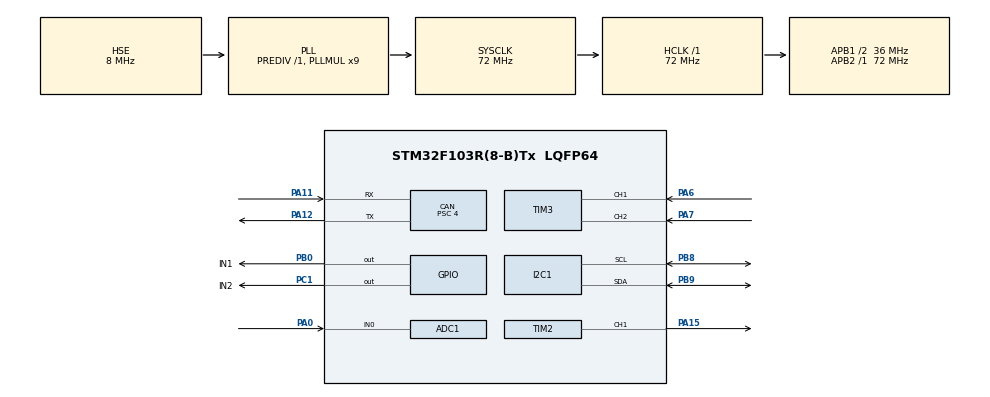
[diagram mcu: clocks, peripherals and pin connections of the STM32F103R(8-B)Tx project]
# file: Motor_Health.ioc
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ADC1.Channel-0\#ChannelRegularConversion=ADC_CHANNEL_0
ADC1.ContinuousConvMode=ENABLE
ADC1.NbrOfConversionFlag=1
ADC1.Rank-0\#ChannelRegularConversion=1
ADC1.SamplingTime-0\#ChannelRegularConversion=ADC_SAMPLETIME_1CYCLE_5
ADC1.master=1
CAN.BS1=CAN_BS1_13TQ
CAN.BS2=CAN_BS2_4TQ
CAN.CalculateBaudRate=500000
CAN.CalculateTimeBit=2000
CAN.CalculateTimeQuantum=111.11111111111111
CAN.Prescaler=4
FREERTOS.Tasks01=sensorTask,2,128,SensorTask,Default,NULL,Dynamic,NULL,NULL;faultTask,1,128,FaultTask,Default,NULL,Dynamic,NULL,NULL;canTask,0,128,CANTask,Default,NULL,Dynamic,NULL,NULL;motorTask,1,128,MotorTask,Default,NULL,Dynamic,NULL,NULL
Mcu.Family=STM32F1
Mcu.Name=STM32F103R(8-B)Tx
Mcu.Package=LQFP64
NVIC.PriorityGroup=NVIC_PRIORITYGROUP_4
PA0-WKUP.Signal=ADCx_IN0
PA11.Mode=CAN_Activate
PA11.Signal=CAN_RX
PA12.Mode=CAN_Activate
PA12.Signal=CAN_TX
PA13.Mode=Serial_Wire
PA13.Signal=SYS_JTMS-SWDIO
PA14.Mode=Serial_Wire
PA14.Signal=SYS_JTCK-SWCLK
PA15.Signal=S_TIM2_CH1_ETR
PA6.Signal=S_TIM3_CH1
PA7.Signal=S_TIM3_CH2
PB0.GPIO_Label=IN1
PB0.Signal=GPIO_Output
PB8.Mode=I2C
PB8.Signal=I2C1_SCL
PB9.Mode=I2C
PB9.Signal=I2C1_SDA
PC1.GPIO_Label=IN2
PC1.Signal=GPIO_Output
PD0-OSC_IN.Mode=HSE-External-Oscillator
PD0-OSC_IN.Signal=RCC_OSC_IN
PD1-OSC_OUT.Mode=HSE-External-Oscillator
PD1-OSC_OUT.Signal=RCC_OSC_OUT
ProjectManager.HeapSize=0x200
ProjectManager.StackSize=0x400
ProjectManager.TargetToolchain=STM32CubeIDE
RCC.ADCPresc=RCC_ADCPCLK2_DIV6
RCC.AHBFreq_Value=72000000
RCC.APB1CLKDivider=RCC_HCLK_DIV2
RCC.APB1Freq_Value=36000000
RCC.APB1TimFreq_Value=72000000
RCC.APB2Freq_Value=72000000
RCC.APB2TimFreq_Value=72000000
RCC.HCLKFreq_Value=72000000
RCC.PLLMUL=RCC_PLL_MUL9
RCC.PLLSourceVirtual=RCC_PLLSOURCE_HSE
RCC.SYSCLKFreq_VALUE=72000000
RCC.SYSCLKSource=RCC_SYSCLKSOURCE_PLLCLK
RCC.USBFreq_Value=72000000
SH.ADCx_IN0.0=ADC1_IN0,IN0
SH.S_TIM2_CH1_ETR.0=TIM2_CH1,PWM Generation1 CH1
SH.S_TIM3_CH1.0=TIM3_CH1,Encoder_Interface
SH.S_TIM3_CH2.0=TIM3_CH2,Encoder_Interface
TIM2.Channel-PWM\ Generation1\ CH1=TIM_CHANNEL_1
TIM3.EncoderMode=TIM_ENCODERMODE_TI12
VP_FREERTOS_VS_CMSIS_V1.Mode=CMSIS_V1
board=custom

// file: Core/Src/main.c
/* USER CODE BEGIN Header */
/**
  ******************************************************************************
  * @file           : main.c
  * @brief          : Main program body
  ******************************************************************************
  * @attention
  *
  * Copyright (c) 2026 STMicroelectronics.
  * All rights reserved.
  *
  * This software is licensed under terms that can be found in the LICENSE file
  * in the root directory of this software component.
  * If no LICENSE file comes with this software, it is provided AS-IS.
  *
  ******************************************************************************
  */
/* USER CODE END Header */
#include "main.h"
#include "cmsis_os.h"

/* USER CODE BEGIN Includes */
#include "ina219.h"
#include "ntc.h"
#include "math.h"
/* USER CODE END Includes */

/* USER CODE BEGIN PD */

#define FAULT_OVERLOAD  (1U << 0)
#define FAULT_STALL     (1U << 1)
#define FAULT_LOW_VOLT  (1U << 2)
#define FAULT_HIGH_TEMP (1U << 3)
#define FAULT_SENSOR    (1U << 4)

/* USER CODE END PD */

ADC_HandleTypeDef hadc1;

CAN_HandleTypeDef hcan;

I2C_HandleTypeDef hi2c1;

TIM_HandleTypeDef htim2;
TIM_HandleTypeDef htim3;

osThreadId sensorTaskHandle;
osThreadId faultTaskHandle;
osThreadId canTaskHandle;
osThreadId motorTaskHandle;
/* USER CODE BEGIN PV */

/* CAN status: 0 = normal, 1 = possible overload */
volatile uint8_t faultFlags = 0;

volatile uint8_t motorDutyPercent = 50;
extern I2C_HandleTypeDef hi2c1;
extern ADC_HandleTypeDef hadc1;
HAL_StatusTypeDef status;

	float Voltage;
	float current;
	float Power;

	float temperature;
	float rpm;

	int8_t direction;

		uint8_t data[2];
	  uint16_t config;
/////////////////////////****MAIN****///////////////////////////////////////////////
	  typedef struct {
	      float rpm;
	      float current;
	      float voltage;
	      float temperature;
	  } SensorData_t;

	  QueueHandle_t sensorQueue;
	  QueueHandle_t faultQueue;

	  typedef enum
	  {
	      MOTOR_OFF = 0,
	      MOTOR_STARTING,
	      MOTOR_RUNNING
	  } MotorState_t;

	  volatile MotorState_t motorState = MOTOR_OFF;

/* USER CODE END PV */

void SystemClock_Config(void);
static void MX_GPIO_Init(void);
static void MX_I2C1_Init(void);
static void MX_ADC1_Init(void);
static void MX_TIM3_Init(void);
static void MX_TIM2_Init(void);
static void MX_CAN_Init(void);
void SensorTask(void const * argument);
void FaultTask(void const * argument);
void CANTask(void const * argument);
void MotorTask(void const * argument);

int main(void)
{

  /* MCU Configuration--------------------------------------------------------*/

  /* Reset of all peripherals, Initializes the Flash interface and the Systick. */
  HAL_Init();

  /* Configure the system clock */
  SystemClock_Config();

  /* Initialize all configured peripherals */
  MX_GPIO_Init();
  MX_I2C1_Init();
  MX_ADC1_Init();
  MX_TIM3_Init();
  MX_TIM2_Init();
  MX_CAN_Init();
  /* USER CODE BEGIN 2 */

  status = HAL_I2C_Mem_Read(&hi2c1,
                            (0x40 << 1),
                            0x00,
                            I2C_MEMADD_SIZE_8BIT,
                            data,
                            2,
                            100);

  if (status == HAL_OK)
  {
      config = ((uint16_t)data[0] << 8) | data[1];
  }

  /* USER CODE END 2 */

  /* USER CODE BEGIN RTOS_QUEUES */
  sensorQueue = xQueueCreate(1, sizeof(SensorData_t));
  faultQueue  = xQueueCreate(1, sizeof(SensorData_t));

  if (sensorQueue == NULL || faultQueue == NULL)
  {
      Error_Handler();
  }
  /* add queues, ... */
  /* USER CODE END RTOS_QUEUES */

  /* Create the thread(s) */
  /* definition and creation of sensorTask */
  osThreadDef(sensorTask, SensorTask, osPriorityHigh, 0, 128);
  sensorTaskHandle = osThreadCreate(osThread(sensorTask), NULL);

  /* definition and creation of faultTask */
  osThreadDef(faultTask, FaultTask, osPriorityAboveNormal, 0, 128);
  faultTaskHandle = osThreadCreate(osThread(faultTask), NULL);

  /* definition and creation of canTask */
  osThreadDef(canTask, CANTask, osPriorityNormal, 0, 128);
  canTaskHandle = osThreadCreate(osThread(canTask), NULL);

  /* definition and creation of motorTask */
  osThreadDef(motorTask, MotorTask, osPriorityAboveNormal, 0, 128);
  motorTaskHandle = osThreadCreate(osThread(motorTask), NULL);

  /* Start scheduler */
  osKernelStart();

  /* We should never get here as control is now taken by the scheduler */

  /* Infinite loop */
  while (1)
  {

  }
}

void SystemClock_Config(void)
{
  RCC_OscInitTypeDef RCC_OscInitStruct = {0};
  RCC_ClkInitTypeDef RCC_ClkInitStruct = {0};
  RCC_PeriphCLKInitTypeDef PeriphClkInit = {0};

  /** Initializes the RCC Oscillators according to the specified parameters
  * in the RCC_OscInitTypeDef structure.
  */
  RCC_OscInitStruct.OscillatorType = RCC_OSCILLATORTYPE_HSE;
  RCC_OscInitStruct.HSEState = RCC_HSE_ON;
  RCC_OscInitStruct.HSEPredivValue = RCC_HSE_PREDIV_DIV1;
  RCC_OscInitStruct.HSIState = RCC_HSI_ON;
  RCC_OscInitStruct.PLL.PLLState = RCC_PLL_ON;
  RCC_OscInitStruct.PLL.PLLSource = RCC_PLLSOURCE_HSE;
  RCC_OscInitStruct.PLL.PLLMUL = RCC_PLL_MUL9;
  if (HAL_RCC_OscConfig(&RCC_OscInitStruct) != HAL_OK)
  {
    Error_Handler();
  }

  /** Initializes the CPU, AHB and APB buses clocks
  */
  RCC_ClkInitStruct.ClockType = RCC_CLOCKTYPE_HCLK|RCC_CLOCKTYPE_SYSCLK
                              |RCC_CLOCKTYPE_PCLK1|RCC_CLOCKTYPE_PCLK2;
  RCC_ClkInitStruct.SYSCLKSource = RCC_SYSCLKSOURCE_PLLCLK;
  RCC_ClkInitStruct.AHBCLKDivider = RCC_SYSCLK_DIV1;
  RCC_ClkInitStruct.APB1CLKDivider = RCC_HCLK_DIV2;
  RCC_ClkInitStruct.APB2CLKDivider = RCC_HCLK_DIV1;

  if (HAL_RCC_ClockConfig(&RCC_ClkInitStruct, FLASH_LATENCY_2) != HAL_OK)
  {
    Error_Handler();
  }
  PeriphClkInit.PeriphClockSelection = RCC_PERIPHCLK_ADC;
  PeriphClkInit.AdcClockSelection = RCC_ADCPCLK2_DIV6;
  if (HAL_RCCEx_PeriphCLKConfig(&PeriphClkInit) != HAL_OK)
  {
    Error_Handler();
  }
}

static void MX_ADC1_Init(void)
{

  ADC_ChannelConfTypeDef sConfig = {0};

  /** Common config
  */
  hadc1.Instance = ADC1;
  hadc1.Init.ScanConvMode = ADC_SCAN_DISABLE;
  hadc1.Init.ContinuousConvMode = ENABLE;
  hadc1.Init.DiscontinuousConvMode = DISABLE;
  hadc1.Init.ExternalTrigConv = ADC_SOFTWARE_START;
  hadc1.Init.DataAlign = ADC_DATAALIGN_RIGHT;
  hadc1.Init.NbrOfConversion = 1;
  if (HAL_ADC_Init(&hadc1) != HAL_OK)
  {
    Error_Handler();
  }

  /** Configure Regular Channel
  */
  sConfig.Channel = ADC_CHANNEL_0;
  sConfig.Rank = ADC_REGULAR_RANK_1;
  sConfig.SamplingTime = ADC_SAMPLETIME_1CYCLE_5;
  if (HAL_ADC_ConfigChannel(&hadc1, &sConfig) != HAL_OK)
  {
    Error_Handler();
  }

}

static void MX_CAN_Init(void)
{

  hcan.Instance = CAN1;
  hcan.Init.Prescaler = 4;
  hcan.Init.Mode = CAN_MODE_NORMAL;
  hcan.Init.SyncJumpWidth = CAN_SJW_1TQ;
  hcan.Init.TimeSeg1 = CAN_BS1_13TQ;
  hcan.Init.TimeSeg2 = CAN_BS2_4TQ;
  hcan.Init.TimeTriggeredMode = DISABLE;
  hcan.Init.AutoBusOff = DISABLE;
  hcan.Init.AutoWakeUp = DISABLE;
  hcan.Init.AutoRetransmission = DISABLE;
  hcan.Init.ReceiveFifoLocked = DISABLE;
  hcan.Init.TransmitFifoPriority = DISABLE;
  if (HAL_CAN_Init(&hcan) != HAL_OK)
  {
    Error_Handler();
  }

}

static void MX_I2C1_Init(void)
{

  hi2c1.Instance = I2C1;
  hi2c1.Init.ClockSpeed = 100000;
  hi2c1.Init.DutyCycle = I2C_DUTYCYCLE_2;
  hi2c1.Init.OwnAddress1 = 0;
  hi2c1.Init.AddressingMode = I2C_ADDRESSINGMODE_7BIT;
  hi2c1.Init.DualAddressMode = I2C_DUALADDRESS_DISABLE;
  hi2c1.Init.OwnAddress2 = 0;
  hi2c1.Init.GeneralCallMode = I2C_GENERALCALL_DISABLE;
  hi2c1.Init.NoStretchMode = I2C_NOSTRETCH_DISABLE;
  if (HAL_I2C_Init(&hi2c1) != HAL_OK)
  {
    Error_Handler();
  }

}

static void MX_TIM2_Init(void)
{

  TIM_MasterConfigTypeDef sMasterConfig = {0};
  TIM_OC_InitTypeDef sConfigOC = {0};

  htim2.Instance = TIM2;
  htim2.Init.Prescaler = 0;
  htim2.Init.CounterMode = TIM_COUNTERMODE_UP;
  htim2.Init.Period = 65534;
  htim2.Init.ClockDivision = TIM_CLOCKDIVISION_DIV1;
  htim2.Init.AutoReloadPreload = TIM_AUTORELOAD_PRELOAD_DISABLE;
  if (HAL_TIM_PWM_Init(&htim2) != HAL_OK)
  {
    Error_Handler();
  }
  sMasterConfig.MasterOutputTrigger = TIM_TRGO_RESET;
  sMasterConfig.MasterSlaveMode = TIM_MASTERSLAVEMODE_DISABLE;
  if (HAL_TIMEx_MasterConfigSynchronization(&htim2, &sMasterConfig) != HAL_OK)
  {
    Error_Handler();
  }
  sConfigOC.OCMode = TIM_OCMODE_PWM1;
  sConfigOC.Pulse = 0;
  sConfigOC.OCPolarity = TIM_OCPOLARITY_HIGH;
  sConfigOC.OCFastMode = TIM_OCFAST_DISABLE;
  if (HAL_TIM_PWM_ConfigChannel(&htim2, &sConfigOC, TIM_CHANNEL_1) != HAL_OK)
  {
    Error_Handler();
  }
  HAL_TIM_MspPostInit(&htim2);

}

static void MX_TIM3_Init(void)
{

  TIM_Encoder_InitTypeDef sConfig = {0};
  TIM_MasterConfigTypeDef sMasterConfig = {0};

  htim3.Instance = TIM3;
  htim3.Init.Prescaler = 0;
  htim3.Init.CounterMode = TIM_COUNTERMODE_UP;
  htim3.Init.Period = 65535;
  htim3.Init.ClockDivision = TIM_CLOCKDIVISION_DIV1;
  htim3.Init.AutoReloadPreload = TIM_AUTORELOAD_PRELOAD_DISABLE;
  sConfig.EncoderMode = TIM_ENCODERMODE_TI12;
  sConfig.IC1Polarity = TIM_ICPOLARITY_RISING;
  sConfig.IC1Selection = TIM_ICSELECTION_DIRECTTI;
  sConfig.IC1Prescaler = TIM_ICPSC_DIV1;
  sConfig.IC1Filter = 0;
  sConfig.IC2Polarity = TIM_ICPOLARITY_RISING;
  sConfig.IC2Selection = TIM_ICSELECTION_DIRECTTI;
  sConfig.IC2Prescaler = TIM_ICPSC_DIV1;
  sConfig.IC2Filter = 0;
  if (HAL_TIM_Encoder_Init(&htim3, &sConfig) != HAL_OK)
  {
    Error_Handler();
  }
  sMasterConfig.MasterOutputTrigger = TIM_TRGO_RESET;
  sMasterConfig.MasterSlaveMode = TIM_MASTERSLAVEMODE_DISABLE;
  if (HAL_TIMEx_MasterConfigSynchronization(&htim3, &sMasterConfig) != HAL_OK)
  {
    Error_Handler();
  }

}

static void MX_GPIO_Init(void)
{
  GPIO_InitTypeDef GPIO_InitStruct = {0};

  /* GPIO Ports Clock Enable */
  __HAL_RCC_GPIOD_CLK_ENABLE();
  __HAL_RCC_GPIOC_CLK_ENABLE();
  __HAL_RCC_GPIOA_CLK_ENABLE();
  __HAL_RCC_GPIOB_CLK_ENABLE();

  /*Configure GPIO pin Output Level */
  HAL_GPIO_WritePin(IN2_GPIO_Port, IN2_Pin, GPIO_PIN_RESET);

  /*Configure GPIO pin Output Level */
  HAL_GPIO_WritePin(IN1_GPIO_Port, IN1_Pin, GPIO_PIN_RESET);

  /*Configure GPIO pin : IN2_Pin */
  GPIO_InitStruct.Pin = IN2_Pin;
  GPIO_InitStruct.Mode = GPIO_MODE_OUTPUT_PP;
  GPIO_InitStruct.Pull = GPIO_NOPULL;
  GPIO_InitStruct.Speed = GPIO_SPEED_FREQ_LOW;
  HAL_GPIO_Init(IN2_GPIO_Port, &GPIO_InitStruct);

  /*Configure GPIO pin : IN1_Pin */
  GPIO_InitStruct.Pin = IN1_Pin;
  GPIO_InitStruct.Mode = GPIO_MODE_OUTPUT_PP;
  GPIO_InitStruct.Pull = GPIO_NOPULL;
  GPIO_InitStruct.Speed = GPIO_SPEED_FREQ_LOW;
  HAL_GPIO_Init(IN1_GPIO_Port, &GPIO_InitStruct);

}

void SensorTask(void const * argument)
{
  /* USER CODE BEGIN 5 */
	HAL_TIM_Encoder_Start(&htim3, TIM_CHANNEL_ALL);
	int16_t lastCount = (int16_t)__HAL_TIM_GET_COUNTER(&htim3);
	TickType_t lastSampleTick = xTaskGetTickCount();
	uint8_t verifyCnt = 0;

	INA219_Init(&hi2c1);   // one-time setup

  for(;;)
  {
	  osDelay(100);

	  int16_t currentCount = (int16_t)__HAL_TIM_GET_COUNTER(&htim3);
	  TickType_t now = xTaskGetTickCount();
	  TickType_t elapsedTicks = now - lastSampleTick;
	  int16_t delta = (int16_t)(currentCount - lastCount);

	  lastCount = currentCount;
	  lastSampleTick = now;

	  if (elapsedTicks > 0)
	  {
	      float elapsedSeconds = (float)elapsedTicks / (float)configTICK_RATE_HZ;
	      rpm = ((float)delta * 60.0f) / (3120.0f * elapsedSeconds);
	  }

	  if (delta > 0)      direction = 1;
	  else if (delta < 0) direction = -1;
	  else                direction = 0;

	  if (++verifyCnt >= 10) { verifyCnt = 0; INA219_Verify(&hi2c1); }

	  Voltage = INA219_ReadVoltage(&hi2c1);
	  current = INA219_ReadCurrent(&hi2c1);
	  Power   = INA219_ReadPower(&hi2c1);

	  temperature = NTC_ReadTemperature(&hadc1);

	  SensorData_t sensorData = { rpm, current, Voltage, temperature };
	  xQueueOverwrite(sensorQueue, &sensorData);
	  xQueueOverwrite(faultQueue, &sensorData);

  }
  /* USER CODE END 5 */
}

void FaultTask(void const *argument)
{
    SensorData_t sample;

    uint8_t previousDuty = 0;
    TickType_t settlingStarted = 0;
    TickType_t overloadStarted = 0;
    TickType_t recoveryStarted = 0;
    TickType_t stallStarted = 0;
    TickType_t lowVoltStarted = 0;
    TickType_t highTempStarted = 0;
    TickType_t validStarted = 0;

    float filteredCurrent = 0.0f;

    for (;;)
    {
    	if (xQueueReceive(faultQueue, &sample,
    	                  pdMS_TO_TICKS(1000)) != pdTRUE)
    	{
    	    /* SensorTask stopped producing samples. */
    	    faultFlags = FAULT_SENSOR;
    	    validStarted = 0;
    	    overloadStarted = 0;
    	    recoveryStarted = 0;
    	    stallStarted = 0;
    	    lowVoltStarted = 0;
    	    highTempStarted = 0;
    	    filteredCurrent = 0.0f;
    	    continue;
    	}

        uint8_t duty = motorDutyPercent;
        TickType_t now = xTaskGetTickCount();
        uint8_t flags = faultFlags;

        uint8_t invalid =
            !isfinite(sample.rpm) ||
            !isfinite(sample.current) ||
            !isfinite(sample.voltage) ||
            !isfinite(sample.temperature) ||
            sample.voltage < 0.0f ||
            sample.voltage > 9.0f ||
            sample.current < -0.5f ||
            sample.temperature < -20.0f ||
            sample.temperature > 120.0f;

        if (invalid)
        {
            /* One invalid sample immediately makes readings untrusted. */
            faultFlags = FAULT_SENSOR;
            validStarted = 0;
            overloadStarted = 0;
            recoveryStarted = 0;
            stallStarted = 0;
            lowVoltStarted = 0;
            highTempStarted = 0;
            filteredCurrent = 0.0f;
            continue;
        }

        if (flags & FAULT_SENSOR)
        {
            /* Require 1 second of uninterrupted valid readings. */
            if (validStarted == 0)
            {
                validStarted = now;
                continue;
            }

            if ((TickType_t)(now - validStarted) <
                pdMS_TO_TICKS(1000))
            {
                continue;
            }

            faultFlags = 0;
            flags = 0;
            validStarted = 0;

            /* Restart startup settling after sensor recovery. */
            settlingStarted = now;
            motorState = (duty == 0) ? MOTOR_OFF : MOTOR_STARTING;
            previousDuty = duty;
            filteredCurrent = sample.current;

            overloadStarted = 0;
            recoveryStarted = 0;
            stallStarted = 0;
            lowVoltStarted = 0;
            highTempStarted = 0;
            continue;
        }

        validStarted = 0;

        if (duty == 0)
        {
            motorState = MOTOR_OFF;
            faultFlags = 0;
            overloadStarted = 0;
            recoveryStarted = 0;
            stallStarted = 0;
            lowVoltStarted = 0;
            highTempStarted = 0;
            filteredCurrent = 0.0f;
            previousDuty = duty;
            continue;
        }

        if (duty != previousDuty)
        {
            settlingStarted = now;
            motorState = MOTOR_STARTING;
            flags = 0;
            overloadStarted = 0;
            recoveryStarted = 0;
            stallStarted = 0;
            filteredCurrent = sample.current;
        }
        else
        {
            filteredCurrent =
                0.7f * filteredCurrent + 0.3f * sample.current;
        }

        if ((TickType_t)(now - settlingStarted) >=
            pdMS_TO_TICKS(2000))
        {
            motorState = MOTOR_RUNNING;
        }

        /* Provisional 2-cell low-supply-voltage warning. */
        if (sample.voltage < 6.4f)
        {
            if (lowVoltStarted == 0)
                lowVoltStarted = now;
            else if ((TickType_t)(now - lowVoltStarted) >=
                     pdMS_TO_TICKS(2000))
                flags |= FAULT_LOW_VOLT;
        }
        else
        {
            lowVoltStarted = 0;

            if (sample.voltage > 6.6f)
                flags &= (uint8_t)~FAULT_LOW_VOLT;
        }

        /* Provisional casing-temperature warning. */
        if (sample.temperature > 60.0f)
        {
            if (highTempStarted == 0)
                highTempStarted = now;
            else if ((TickType_t)(now - highTempStarted) >=
                     pdMS_TO_TICKS(2000))
                flags |= FAULT_HIGH_TEMP;
        }
        else
        {
            highTempStarted = 0;

            if (sample.temperature < 55.0f)
                flags &= (uint8_t)~FAULT_HIGH_TEMP;
        }

        if (motorState != MOTOR_RUNNING)
        {
            flags &= (uint8_t)~(FAULT_OVERLOAD | FAULT_STALL);
            overloadStarted = 0;
            recoveryStarted = 0;
            stallStarted = 0;
        }
        else
        {
            /* Measured near-stall rule at 50% duty. */
            if (duty == 50 &&
                sample.rpm < 20.0f &&
                filteredCurrent > 0.45f)
            {
                if (stallStarted == 0)
                    stallStarted = now;
                else if ((TickType_t)(now - stallStarted) >=
                         pdMS_TO_TICKS(500))
                    flags |= FAULT_STALL;
            }
            else
            {
                stallStarted = 0;

                if (sample.rpm > 40.0f || duty != 50)
                    flags &= (uint8_t)~FAULT_STALL;
            }

            float tripRpm = 0.0f;
            float tripCurrent = 0.0f;
            float clearRpm = 0.0f;
            float clearCurrent = 0.0f;
            uint8_t supportedDuty = 1;

            if (duty == 50)
            {
                tripRpm = 85.0f;
                tripCurrent = 0.34f;
                clearRpm = 90.0f;
                clearCurrent = 0.32f;
            }
            else if (duty == 75)
            {
                tripRpm = 112.0f;
                tripCurrent = 0.33f;
                clearRpm = 116.0f;
                clearCurrent = 0.32f;
            }
            else
            {
                supportedDuty = 0;
            }

            if (!supportedDuty || (flags & FAULT_STALL))
            {
                flags &= (uint8_t)~FAULT_OVERLOAD;
                overloadStarted = 0;
                recoveryStarted = 0;
            }
            else if (!(flags & FAULT_OVERLOAD))
            {
                if (sample.rpm < tripRpm &&
                    sample.current > tripCurrent)
                {
                    if (overloadStarted == 0)
                        overloadStarted = now;
                    else if ((TickType_t)(now - overloadStarted) >=
                             pdMS_TO_TICKS(1000))
                        flags |= FAULT_OVERLOAD;
                }
                else
                {
                    overloadStarted = 0;
                }
            }
            else
            {
                if (sample.rpm > clearRpm &&
                    sample.current < clearCurrent)
                {
                    if (recoveryStarted == 0)
                        recoveryStarted = now;
                    else if ((TickType_t)(now - recoveryStarted) >=
                             pdMS_TO_TICKS(1000))
                    {
                        flags &= (uint8_t)~FAULT_OVERLOAD;
                        overloadStarted = 0;
                        recoveryStarted = 0;
                    }
                }
                else
                {
                    recoveryStarted = 0;
                }
            }
        }

        faultFlags = flags;
        previousDuty = duty;
    }
}
void CANTask(void const *argument)
{
    CAN_FilterTypeDef filter = {0};
    filter.FilterBank = 0;
    filter.FilterMode = CAN_FILTERMODE_IDMASK;
    filter.FilterScale = CAN_FILTERSCALE_32BIT;
    filter.FilterIdHigh = 0;
    filter.FilterIdLow = 0;
    filter.FilterMaskIdHigh = 0;
    filter.FilterMaskIdLow = 0;
    filter.FilterFIFOAssignment = CAN_FILTER_FIFO0;
    filter.FilterActivation = ENABLE;

    if (HAL_CAN_ConfigFilter(&hcan, &filter) != HAL_OK)
        Error_Handler();

    if (HAL_CAN_Start(&hcan) != HAL_OK)
        Error_Handler();

    CAN_TxHeaderTypeDef sensorHeader = {0};
    sensorHeader.StdId = 0x100;
    sensorHeader.IDE = CAN_ID_STD;
    sensorHeader.RTR = CAN_RTR_DATA;
    sensorHeader.DLC = 8;
    sensorHeader.TransmitGlobalTime = DISABLE;

    CAN_TxHeaderTypeDef statusHeader = {0};
    statusHeader.StdId = 0x101;
    statusHeader.IDE = CAN_ID_STD;
    statusHeader.RTR = CAN_RTR_DATA;
    statusHeader.DLC = 3;
    statusHeader.TransmitGlobalTime = DISABLE;

    uint32_t txMailbox;
    SensorData_t data;
    TickType_t lastStatusTick = 0;

    for (;;)
    {
        /* SensorTask normally supplies a reading about every 100 ms. */
        if (xQueueReceive(sensorQueue, &data,
                          pdMS_TO_TICKS(100)) == pdTRUE)
        {
            /* Do not convert NaN/infinite readings to integer CAN data. */
        	if (isfinite(data.rpm) &&
        	    isfinite(data.current) &&
        	    isfinite(data.voltage) &&
        	    isfinite(data.temperature) &&
        	    data.voltage >= 0.0f &&
        	    data.voltage <= 9.0f)
        	{
                int16_t rpmScaled =
                    (int16_t)(data.rpm * 10.0f);
                int16_t currentScaled =
                    (int16_t)(data.current * 1000.0f);
                int16_t voltageScaled =
                    (int16_t)(data.voltage * 100.0f);
                int16_t tempScaled =
                    (int16_t)(data.temperature * 10.0f);

                uint8_t sensorData[8] = {
                    (uint8_t)((rpmScaled >> 8) & 0xFF),
                    (uint8_t)(rpmScaled & 0xFF),
                    (uint8_t)((currentScaled >> 8) & 0xFF),
                    (uint8_t)(currentScaled & 0xFF),
                    (uint8_t)((voltageScaled >> 8) & 0xFF),
                    (uint8_t)(voltageScaled & 0xFF),
                    (uint8_t)((tempScaled >> 8) & 0xFF),
                    (uint8_t)(tempScaled & 0xFF)
                };

                if (HAL_CAN_GetTxMailboxesFreeLevel(&hcan) > 0)
                {
                    HAL_CAN_AddTxMessage(&hcan, &sensorHeader,
                                         sensorData, &txMailbox);
                }
            }
        }

        /* Report fault status even if a sensor reading was invalid. */
        TickType_t now = xTaskGetTickCount();

        if ((TickType_t)(now - lastStatusTick) >=
            pdMS_TO_TICKS(500))
        {
            uint8_t duty = motorDutyPercent;

            uint8_t statusData[3] = {
                faultFlags,
                duty,
                (duty == 50 || duty == 75) ? 1U : 0U
            };

            if (HAL_CAN_GetTxMailboxesFreeLevel(&hcan) > 0 &&
                HAL_CAN_AddTxMessage(&hcan, &statusHeader,
                                     statusData, &txMailbox) == HAL_OK)
            {
                lastStatusTick = now;
            }
        }
    }
}

void MotorTask(void const * argument)
{
  /* USER CODE BEGIN MotorTask */
	HAL_TIM_PWM_Start(&htim2, TIM_CHANNEL_1);

	HAL_GPIO_WritePin(IN1_GPIO_Port, IN1_Pin,GPIO_PIN_SET);
	HAL_GPIO_WritePin(IN2_GPIO_Port, IN2_Pin, GPIO_PIN_RESET);

	uint32_t period = __HAL_TIM_GET_AUTORELOAD(&htim2);

  /* Infinite loop */
  for(;;)
  {
	  uint32_t compare =
	      ((uint32_t)motorDutyPercent * (period + 1U)) / 100U;
	  __HAL_TIM_SET_COMPARE(&htim2,TIM_CHANNEL_1,compare);

    osDelay(100);
  }
  /* USER CODE END MotorTask */
}

void Error_Handler(void)
{
  __disable_irq();
  while (1)
  {
  }
}
